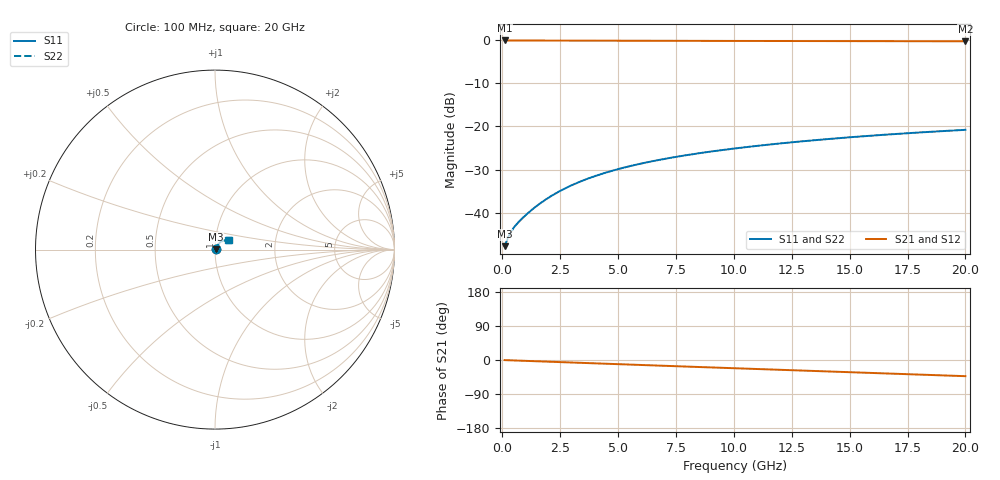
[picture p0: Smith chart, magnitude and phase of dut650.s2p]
! Touchstone file exported from HFSS 2026.1.0
!  File:  C:/ffzhzh/LocalFiles/Ansys_Project_Files/temp_train_TMRDL_650_1783009511_53980.aedt
!  Generated:  12:26:27 AM Jul  3, 2026
!  Design:  TMRDL
!  Project:  temp_train_TMRDL_650_1783009511_53980
! Variables:
!  h_bsmrdl = 2um
!  h_ox = 20um
!  h_rdl = 5um
!  h_sub = 80um
!  h_tmrdl = 4.39um
!  h_tsv = 80um
!  h_via = 3um
!  l_bsmrdl = 300um
!  l_sub = 1168.3um
!  l_tmrdl = 768.3um
!  m_sub = 200um
!  pitch = 22.51um
!  r_tsv = 6um
!  s_tmrdl = 10um
!  w_bsmrdl = 18um
!  w_sub = 500um
!  w_tmrdl = 16.73um
!  x_tsv_center1 = 776.665um
!  x_tsv_center2 = 1094.665um
!  x_tsv_center3 = 1879.695um
!  x_tsv_center4 = 2197.695um
!  x_tsv_center5 = 2982.725um
!  x_tsv_center6 = 3300.725um
# GHz S MA R 50.000000
! Terminal data exported
! Port[1] = TM_RDL1_1_T1
! Port[2] = TM_RDL1_1_T2
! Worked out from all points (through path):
!   200 points, 100 MHz to 20 GHz, reference 50 ohm
!   highest |S21| = -0.03 dB at 100 MHz (marker M1); lowest = -0.2 dB at 20 GHz (marker M2)
!   group delay of S21, straight-line fit = 5.9 ps
!   lowest |S11| = -47.8 dB at 100 MHz (marker M3), VSWR 1.01, Z = 50.4 + j0.117 ohm
!   |S11| at or under -10 dB: start of sweep to end of sweep
!   |S22| runs from -47.8 to -20.8 dB; largest |S21 - S12| = 2.9e-15
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0.1  0.004072 16.6  0.9961 -0.3  0.9961 -0.3  0.004072 16.6
! Gamma 0 0 0 0
! Port Impedance 50 0 50 0
0.2  0.004759 26.9  0.9958 -0.5  0.9958 -0.5  0.004759 26.9
0.3  0.00548 32.4  0.9954 -0.7  0.9954 -0.7  0.005483 32.5
0.4  0.006124 35.9  0.9951 -1.0  0.9951 -1.0  0.006133 36.0
0.5  0.006698 38.7  0.9949 -1.2  0.9949 -1.2  0.006713 38.8
0.6  0.00723 41.2  0.9947 -1.4  0.9947 -1.4  0.007249 41.2
0.8  0.008253 45.5  0.9945 -1.8  0.9945 -1.8  0.008275 45.5
1.2  0.01035 52.1  0.9941 -2.7  0.9941 -2.7  0.01037 52.1
1.7  0.01316 57.3  0.9937 -3.8  0.9937 -3.8  0.01318 57.2
2.3  0.01666 60.5  0.9931 -5.1  0.9931 -5.1  0.01668 60.4
2.9  0.02019 61.8  0.9924 -6.5  0.9924 -6.5  0.0202 61.7
3.5  0.02367 62.1  0.9916 -7.8  0.9916 -7.8  0.02367 62.0
4.2  0.02761 61.7  0.9907 -9.3  0.9907 -9.3  0.02762 61.7
5  0.03194 60.8  0.9895 -11.0  0.9895 -11.0  0.03195 60.8
5.9  0.03659 59.5  0.9883 -13.0  0.9883 -13.0  0.0366 59.4
6.8  0.04101 58.0  0.987 -14.9  0.987 -14.9  0.04102 58.0
8.3  0.04797 55.4  0.9851 -18.1  0.9851 -18.1  0.04798 55.4
10.1  0.05576 52.3  0.9831 -21.9  0.9831 -21.9  0.05579 52.2
11.7  0.0623 49.5  0.9814 -25.3  0.9814 -25.3  0.06233 49.4
13.4  0.0689 46.6  0.9797 -28.9  0.9797 -28.9  0.06894 46.4
16.7  0.08077 40.7  0.9768 -35.8  0.9768 -35.8  0.08082 40.5
20  0.0913 34.7  0.9742 -42.7  0.9742 -42.7  0.09137 34.5
